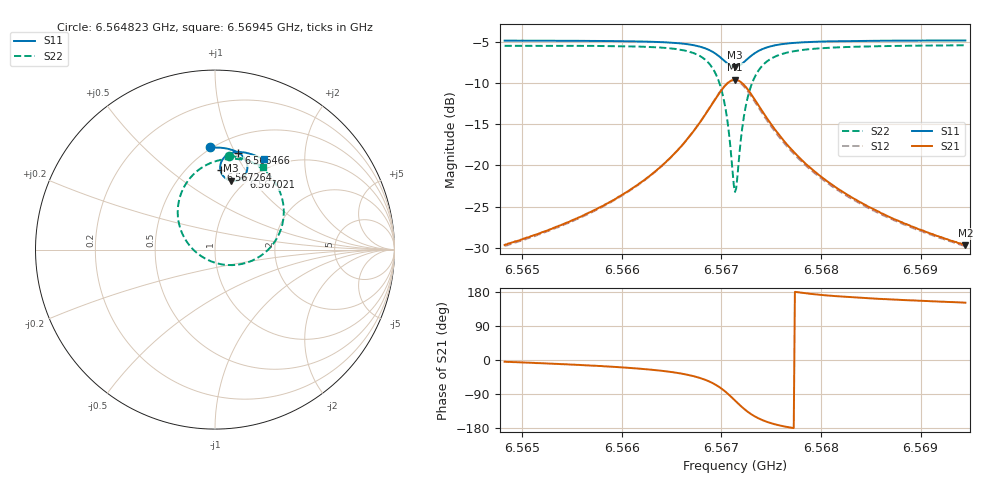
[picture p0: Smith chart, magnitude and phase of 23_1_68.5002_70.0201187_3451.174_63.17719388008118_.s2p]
#  HZ  S  RI  R  50.00
! Rohde & Schwarz Vector Network Analyzer
! Rohde-Schwarz,ZNB20-2Port,1311601062101988,3.16
! Created: UTC 3/20/2024, 4:49:36 PM
! freq[Hz]  re:S11  im:S11  re:S21  im:S21  re:S12  im:S12  re:S22  im:S22
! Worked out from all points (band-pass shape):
!   401 points, 6.564823 GHz to 6.56945 GHz, reference 50 ohm
!   highest |S21| = -9.62 dB at 6.567137 GHz (marker M1); lowest = -29.7 dB at 6.56945 GHz (marker M2)
!   |S21| within 3 dB of the highest: 6.566904 GHz to 6.567367 GHz (462.8 kHz wide, 0.00705 % of centre)
!   lowest |S11| = -8.1 dB at 6.567137 GHz (marker M3), VSWR 2.30, Z = 43 + j39.1 ohm
!   |S11| at or under -10 dB: nowhere
!   |S22| runs from -23.2 to -5.4 dB; largest |S21 - S12| = 0.018
!   S11 on the Smith chart (normalised r, x): 6.564823 GHz: 0.49, +0.83; 6.566466 GHz: 0.66, +1.03; 6.567021 GHz: 0.93, +0.93; 6.567264 GHz: 0.71, +0.78; 6.56945 GHz: 0.86, +1.28
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6.5648231e9  -0.0252 0.5689  0.0329 -0.00266  0.0324 -0.00323  0.0799 0.5239
6.5655981e9  0.0407 0.5665  0.0479 -0.0115  0.0472 -0.0121  0.161 0.5048
6.5660146e9  0.0801 0.5595  0.0631 -0.0226  0.0621 -0.0232  0.217 0.4803
6.5663731e9  0.1193 0.5458  0.0851 -0.0447  0.0839 -0.0458  0.2821 0.4346
6.5664657e9  0.1307 0.5396  0.0931 -0.0551  0.0918 -0.0562  0.3029 0.414
6.5666855e9  0.16 0.5147  0.1151 -0.0982  0.1134 -0.1004  0.3584 0.3295
6.5668474e9  0.1789 0.4765  0.1239 -0.1659  0.1204 -0.17  0.3832 0.1984
6.5669515e9  0.1771 0.4357  0.1018 -0.2377  0.0947 -0.2429  0.344 0.0617
6.5670209e9  0.1582 0.4045  0.0542 -0.2909  0.0423 -0.2948  0.2529 -0.036
6.5670556e9  0.1409 0.3916  0.0164 -0.3116  0.00221 -0.3131  0.1814 -0.0713
6.5671135e9  0.1031 0.3822  -0.0626 -0.3225  -0.0789 -0.3176  0.0363 -0.0822
6.5671366e9  0.0868 0.3842  -0.0959 -0.316  -0.1114 -0.3081  -0.0222 -0.0655
6.5671597e9  0.0712 0.3899  -0.1268 -0.3028  -0.141 -0.2923  -0.0755 -0.0374
6.5672176e9  0.0418 0.4156  -0.186 -0.2495  -0.1943 -0.2351  -0.1708 0.066
6.5672638e9  0.0308 0.4414  -0.2096 -0.1989  -0.2132 -0.184  -0.2034 0.1585
6.5673564e9  0.0338 0.486  -0.211 -0.1129  -0.2088 -0.1016  -0.1904 0.3086
6.5674952e9  0.0613 0.5228  -0.1742 -0.0417  -0.17 -0.0356  -0.1109 0.4275
6.5676687e9  0.0955 0.5396  -0.1316 -0.0066  -0.1281 -0.00337  -0.0231 0.483
6.5679116e9  0.1323 0.544  -0.0941 0.00983  -0.0917 0.0111  0.0597 0.504
6.5682702e9  0.1732 0.5393  -0.0642 0.0156  -0.0626 0.0164  0.1357 0.5035
6.5686866e9  0.2116 0.5283  -0.0457 0.0167  -0.0449 0.017  0.1943 0.4912
6.5694501e9  0.2713 0.5025  -0.0288 0.0158  -0.0283 0.0159  0.2701 0.4607
